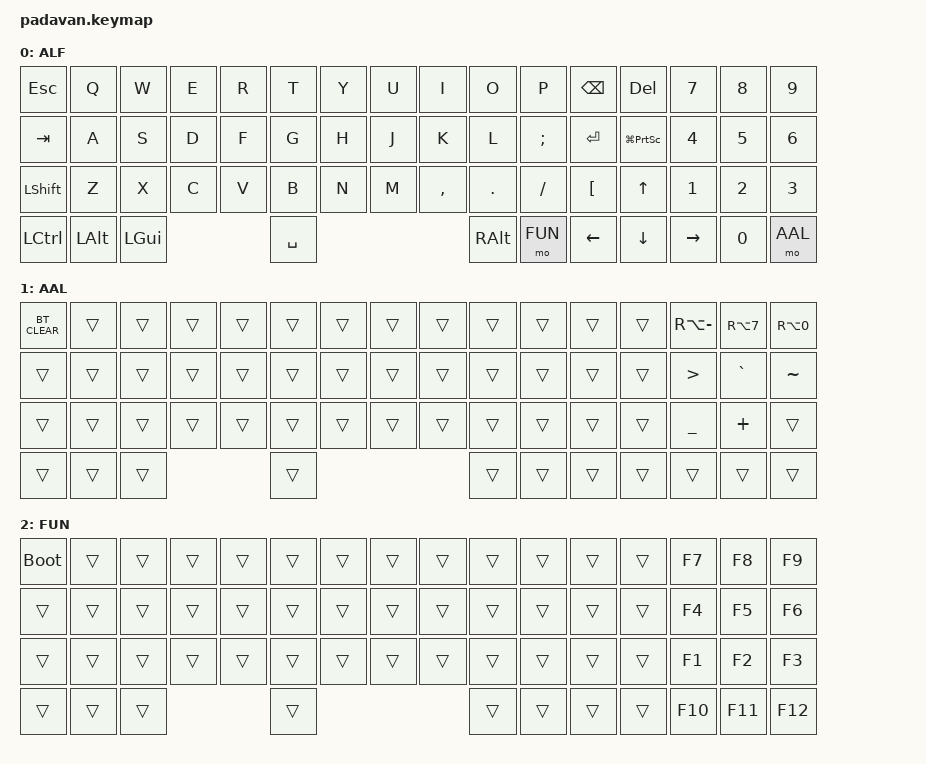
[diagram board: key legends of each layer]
#include <behaviors.dtsi>
#include <dt-bindings/zmk/keys.h>
#include <dt-bindings/zmk/outputs.h>

#define ALF 0
#define AAL 1
#define FUN 2

//&lt {
//    quick_tap_ms = <200>;
//};
//
//&caps_word {
//    continue-list = <UNDERSCORE MINUS BSPC LSHFT RSHFT>;
//};

//#define SCROT LG(PRINTSCREEN)



// padavan key numbers
//  ______________________________________________________________________________________
// |  0 |  1 |  2 |  3 |  4 |  5 |  6 |  7 |  8 |  9 | 10 |  11   | | 12 | | 13 | 14 | 15 |
// |  16 | 17 | 18 | 19 | 20 | 21 | 22 | 23 | 24 | 25 | 26 |  27  | | 28 | | 29 | 30 | 31 |
// |  32   | 33 | 34 | 35 | 36 | 37 | 38 | 39 | 40 | 41 | 42 | 43 | | 44 | | 45 | 46 | 47 |
// | 48 | 49 | 50 ||              51              || 52 | 53 | | 54 | 55 | 56 | | 57 | 58 |
// |______________________________________________________________________________________|

/ {

    keymap {
        compatible = "zmk,keymap";

        alphas {
            label = "ALF";

            bindings = <
                &kp ESC    &kp Q      &kp W      &kp E      &kp R      &kp T      &kp Y      &kp U      &kp I      &kp O      &kp P      &kp BSPC   &kp DEL              &kp N7     &kp N8      &kp N9
                &kp TAB    &kp A      &kp S      &kp D      &kp F      &kp G      &kp H      &kp J      &kp K      &kp L      &kp SEMI   &kp RET    &kp LG(PRINTSCREEN)  &kp N4     &kp N5      &kp N6
      	        &kp LSHFT  &kp Z      &kp X      &kp C      &kp V      &kp B      &kp N      &kp M      &kp COMMA  &kp DOT    &kp FSLH   &kp LBKT   &kp UP               &kp N1     &kp N2      &kp N3
                &kp LCTRL  &kp LALT   &kp LGUI                         &kp SPACE                                   &kp RALT   &mo FUN    &kp LEFT   &kp DOWN   &kp RIGHT            &kp N0      &mo AAL
            >;
        };
        altalt {
            label = "AAL";

            bindings = <
                &bt CLEAR &trans     &trans     &trans     &trans     &trans     &trans     &trans     &trans     &trans     &trans     &trans     &trans        &kp RA(MINUS) &kp RA(N7)   &kp RA(N0)
                &trans     &trans     &trans     &trans     &trans     &trans     &trans     &trans     &trans     &trans     &trans     &trans     &trans        &kp GT        &kp GRAVE    &kp TILDE
      	        &trans     &trans     &trans     &trans     &trans     &trans     &trans     &trans     &trans     &trans     &trans     &trans     &trans        &kp UNDER     &kp PLUS     &trans
                &trans     &trans     &trans                           &trans                                      &trans     &trans     &trans     &trans        &trans        &trans       &trans
            >;
        };
        function {
            label = "FUN";

            bindings = <
                &bootloader &trans     &trans     &trans     &trans     &trans     &trans     &trans     &trans     &trans     &trans     &trans     &trans     &kp F7     &kp F8      &kp F9
                &trans      &trans     &trans     &trans     &trans     &trans     &trans     &trans     &trans     &trans     &trans     &trans     &trans     &kp F4     &kp F5      &kp F6
      	        &trans      &trans     &trans     &trans     &trans     &trans     &trans     &trans     &trans     &trans     &trans     &trans     &trans     &kp F1     &kp F2      &kp F3
                &trans      &trans     &trans                           &trans                                      &trans     &trans     &trans     &trans     &kp F10    &kp F11     &kp F12
            >;
        };

    };
};

//  ______________________________________________________________________________________
// |  0 |  1 |  2 |  3 |  4 |  5 |  6 |  7 |  8 |  9 | 10 |  11   | | 12 | | 13 | 14 | 15 |
// |  16 | 17 | 18 | 19 | 20 | 21 | 22 | 23 | 24 | 25 | 26 |  27  | | 28 | | 29 | 30 | 31 |
// |  32   | 33 | 34 | 35 | 36 | 37 | 38 | 39 | 40 | 41 | 42 | 43 | | 44 | | 45 | 46 | 47 |
// | 48 | 49 | 50 ||              51              || 52 | 53 | | 54 | 55 | 56 | | 57 | 58 |
// |______________________________________________________________________________________|
// copy empty map:
////             |  0       |  1       |  2       |  3       |  4       |  5       |  6       |  7       |  8       |  9       | 10       |  11     || 12      || 13       | 14        | 15        |
//                &trans     &trans     &trans     &trans     &trans     &trans     &trans     &trans     &trans     &trans     &trans     &trans     &trans     &trans     &trans      &trans
////             | 16       | 17       | 18       | 19       | 20       | 21       | 22       | 23       | 24       | 25       | 26       |  27     || 28      || 29       | 30        | 31        |
//                &trans     &trans     &trans     &trans     &trans     &trans     &trans     &trans     &trans     &trans     &trans     &trans     &trans     &trans     &trans      &trans
////             | 32       | 33       | 34       | 35       | 36       | 37       | 38       | 39       | 40       | 41       | 42       |  43     || 44      || 45       | 46        | 47        |
//      	        &trans     &trans     &trans     &trans     &trans     &trans     &trans     &trans     &trans     &trans     &trans     &trans     &trans     &trans     &trans      &trans
////             | 48       | 49       | 50      ||                       51                                       || 52       | 53       || 54      | 55       | 56      || 57        | 58        |
//                &trans     &trans     &trans                           &trans                                      &trans     &trans     &trans     &trans     &trans     &trans      &trans
